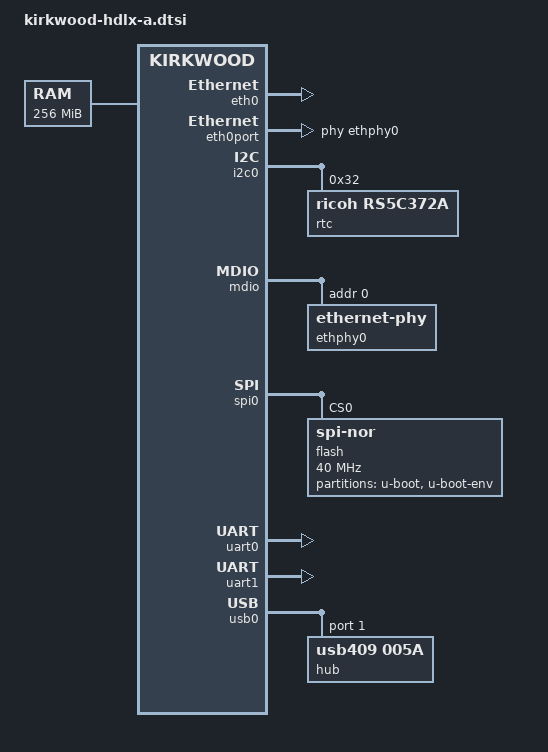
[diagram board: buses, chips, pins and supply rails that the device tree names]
// SPDX-License-Identifier: GPL-2.0-or-later OR MIT

/dts-v1/;

#include "kirkwood.dtsi"
#include "kirkwood-6282.dtsi"

/ {
	chosen {
		/*
		 * The kernel and rootfs are stored to the storage
		 * connected SATA port, port1 or port2. The path to
		 * the partition (/dev/sdXN) which contains root data
		 * will be assigned dynamically, GPT partition name is
		 * required instead.
		 */
		bootargs-append = " root=PARTLABEL=rootfs fstools_use_partlabel=1";
		stdout-path = "serial0:115200n8";
	};

	memory@0 {
		device_type = "memory";
		reg = <0x00000000 0x10000000>;
	};
};

&eth0 {
	status = "okay";
};

&eth0port {
	phy-handle = <&ethphy0>;
};

&i2c0 {
	status = "okay";

	rtc@32 {
		compatible = "ricoh,rs5c372a";
		reg = <0x32>;
	};
};

&mdio {
	status = "okay";

	ethphy0: ethernet-phy@0 {
		reg = <0>;
	};
};

&spi0 {
	status = "okay";

	flash@0 {
		compatible = "jedec,spi-nor";
		spi-max-frequency = <40000000>;
		reg = <0>;

		partitions {
			compatible = "fixed-partitions";
			#address-cells = <1>;
			#size-cells = <1>;

			partition@0 {
				label = "u-boot";
				reg = <0x00000 0x70000>;
				read-only;
			};

			partition@1 {
				label = "u-boot-env";
				reg = <0x70000 0x10000>;
				read-only;
			};
		};
	};
};

&rtc {
	status = "disabled";
};

&uart0 {
	status = "okay";
};

&uart1 {
	status = "okay";

	/*
	 * UART1 is used to connect to Renesas R8C/25 MCU
	 * but there is no driver.
	 * This MCU has the following functions:
	 *
	 * - LED
	 *   - Status
	 *   - HDD
	 *
	 * - Keys
	 *   - Reset
	 *   - Power
	 *
	 * - Beep Speaker
	 *   - controlled by MML (Music Macro Language) syntax
	 *
	 * - Temperature sensor
	 *
	 * - Fan Control
	 *
	 * - Power Off
	 *
	 * - Reset
	 */
};

&usb0 {
	#address-cells = <1>;
	#size-cells = <0>;
	status = "okay";

	hub@1 {
		compatible = "usb409,005a";
		reg = <1>;
		#address-cells = <1>;
		#size-cells = <0>;

		port@1 {
			reg = <1>;
		};

		port@2 {
			reg = <2>;
		};
	};
};
